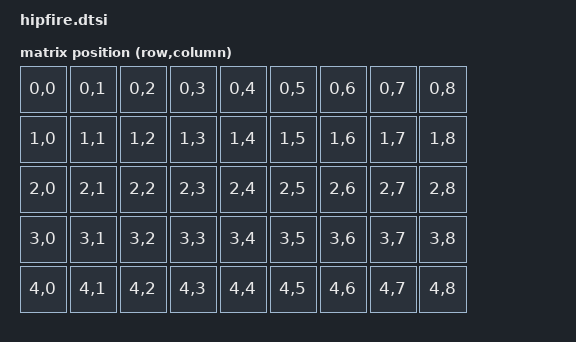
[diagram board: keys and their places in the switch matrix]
#include <dt-bindings/zmk/matrix_transform.h>
#include "hipfire-layouts.dtsi"

//Use this file  to reduce duplication between overlays

/ {
    chosen {
        zmk,kscan = &kscan0;
        zmk,matrix_transform = &default_transform;
        // Other chosen items
    };

    kscan0: kscan0 {
        compatible = "zmk,kscan-gpio-matrix";
        diode-direction = "col2row";
        wakeup-source;
    };

    pinnacle: pinnacle@0 {
        compatible = "cirque,pinnacle";
        reg = <0 0>; // or the correct I2C/SPI address
        irq-gpios = <&gpio0 2 GPIO_ACTIVE_LOW>;
        reset-gpios = <&gpio0 3 GPIO_ACTIVE_LOW>;
    };


    default_transform: keymap_transform0 {
        compatible = "zmk,matrix-transform";
        columns = <9>;
        rows = <5>;
        map = <
            RC(0,0) RC(0,1) RC(0,2) RC(0,3) RC(0,4) RC(0,5) RC(0,6) RC(0,7) RC(0,8)
            RC(1,0) RC(1,1) RC(1,2) RC(1,3) RC(1,4) RC(1,5) RC(1,6) RC(1,7) RC(1,8)
            RC(2,0) RC(2,1) RC(2,2) RC(2,3) RC(2,4) RC(2,5) RC(2,6) RC(2,7) RC(2,8)
            RC(3,0) RC(3,1) RC(3,2) RC(3,3) RC(3,4) RC(3,5) RC(3,6) RC(3,7) RC(3,8)
            RC(4,0) RC(4,1) RC(4,2) RC(4,3) RC(4,4) RC(4,5) RC(4,6) RC(4,7) RC(4,8)
        >;
    };
};
&physical_layout0 {
    //kscan property only needs to be assigned if some of your physical layouts use different kscans
    kscan = <&kscan0>;
    transform = <&default_transform>;
};
